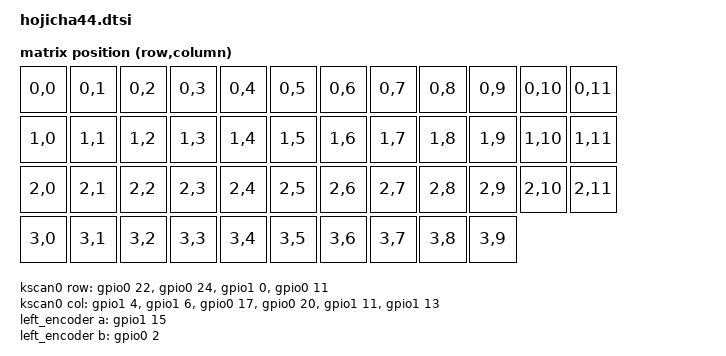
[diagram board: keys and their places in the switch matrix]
/*
 * Hojicha44 shared devicetree — compiled by CI against zmkfirmware/zmk
 * v0.3.0 (board nice_nano_v2, see .github/workflows/build.yml).
 *
 * Covers both halves: 4x6 matrix (R3C4-C5 unpopulated), EC11 on A0/A1 with
 * push on D16, NFC pins as GPIO. Per-half differences (UART only — see
 * hojicha44_{left,right}.overlay) live in the half overlays. The board
 * file provides vbatt/VDDH sensing (chosen zmk,battery is set there, so
 * this file must not redefine it) and defaults uart0 off.
 *
 * Verify with: west build -b nice_nano_v2 -- -DSHIELD=hojicha44_left
 * (needs a zmk-config wrapper providing the shield + board files).
 */

#include <dt-bindings/zmk/matrix_transform.h>
#include <zephyr/dt-bindings/input/input-event-codes.h>

/ {
    chosen {
        zmk,kscan = &kscan0;
        zmk,matrix-transform = &default_transform;
        /* zmk,battery = &vbatt comes from the nice_nano_v2 board file. */
    };

    kscan0: kscan0 {
        compatible = "zmk,kscan-gpio-matrix";
        diode-direction = "col2row";
        wakeup-source;
        /* row-gpios / col-gpios are half-specific only in net NAME;
         * the Arduino pins are identical, so they live here. */
        row-gpios
            = <&gpio0 22 (GPIO_ACTIVE_HIGH | GPIO_PULL_DOWN)>    /* R0 = D4  */
            , <&gpio0 24 (GPIO_ACTIVE_HIGH | GPIO_PULL_DOWN)>    /* R1 = D5  */
            , <&gpio1  0 (GPIO_ACTIVE_HIGH | GPIO_PULL_DOWN)>    /* R2 = D6  */
            , <&gpio0 11 (GPIO_ACTIVE_HIGH | GPIO_PULL_DOWN)>;   /* R3 = D7  */
        col-gpios
            = <&gpio1  4 GPIO_ACTIVE_HIGH>      /* C0 = D8  */
            , <&gpio1  6 GPIO_ACTIVE_HIGH>      /* C1 = D9  */
            , <&gpio0 17 GPIO_ACTIVE_HIGH>      /* C2 = D2  */
            , <&gpio0 20 GPIO_ACTIVE_HIGH>      /* C3 = D3  */
            , <&gpio1 11 GPIO_ACTIVE_HIGH>      /* C4 = D14 */
            , <&gpio1 13 GPIO_ACTIVE_HIGH>;     /* C5 = D15 */
    };

    default_transform: transform {
        compatible = "zmk,matrix-transform";
        columns = <12>;
        rows = <4>;
        map = <
            RC(0,0) RC(0,1) RC(0,2) RC(0,3) RC(0,4) RC(0,5) RC(0,6) RC(0,7) RC(0,8) RC(0,9) RC(0,10) RC(0,11)
            RC(1,0) RC(1,1) RC(1,2) RC(1,3) RC(1,4) RC(1,5) RC(1,6) RC(1,7) RC(1,8) RC(1,9) RC(1,10) RC(1,11)
            RC(2,0) RC(2,1) RC(2,2) RC(2,3) RC(2,4) RC(2,5) RC(2,6) RC(2,7) RC(2,8) RC(2,9) RC(2,10) RC(2,11)
            RC(3,0) RC(3,1) RC(3,2) RC(3,3) RC(3,4) RC(3,5) RC(3,6) RC(3,7) RC(3,8) RC(3,9)
        >;
    };

    enc_sw: buttons_enc_sw {
        compatible = "gpio-keys";
        /* EC11 push is a dedicated GPIO (D16 = P0.10), not matrixed.
         * Shape per the Zephyr gpio-keys binding: one child node per
         * button carrying `gpios` (+ optional `label`/`zephyr,code`) —
         * a parent-level `sw-gpios` property does not exist.
         * S1 closes to GND, so ACTIVE_LOW with pull-up.
         * ZMK-docs discrepancy note: ZMK keymaps consume *kscan* events,
         * not Zephyr input events (zmk.dev/docs/features/encoders says a
         * push is "typically" part of the keyboard matrix). This node only
         * corrects the pin description; the keymap path is the direct
         * kscan below, consumed by the sideband in hojicha44.keymap.
         * Binding source: docs.zephyrproject.org/latest/build/dts/api/
         * bindings/input/gpio-keys.html */
        enc_sw_btn: button_enc_sw {
            label = "ENC push";
            gpios = <&gpio0 10 (GPIO_ACTIVE_LOW | GPIO_PULL_UP)>;
            zephyr,code = <INPUT_KEY_MUTE>;
        };
    };

    enc_push_kscan: kscan_enc_push {
        /* ZMK-supported keymap path for the dedicated-GPIO push: direct
         * kscan over the gpio-key above (`input-keys` takes gpio-key
         * phandles; the single key emits row 0 / column 0 events).
         * Consumed by the sideband in hojicha44.keymap; the chosen kscan
         * stays kscan0, so the 46-cell matrix path is untouched.
         * Binding source: zmk.dev/docs/config/kscan (Direct GPIO driver)
         * + app/module/drivers/kscan/kscan_gpio_direct.c in zmkfirmware/zmk
         * (`input-keys`, events at row 0 / column index). */
        compatible = "zmk,kscan-gpio-direct";
        wakeup-source;
        input-keys = <&enc_sw_btn>;
    };

    left_encoder: encoder_left {
        /* Shared node: defined ONCE here, enabled per-half by each overlay's
           &left_encoder { status = "okay"; } and consumed by sensors below.
           The name is NOT a left-half leak — do NOT rename per half. */
        compatible = "alps,ec11";
        a-gpios = <&gpio1 15 (GPIO_ACTIVE_HIGH | GPIO_PULL_UP)>;  /* A0 */
        b-gpios = <&gpio0  2 (GPIO_ACTIVE_HIGH | GPIO_PULL_UP)>;  /* A1 */
        steps = <15>;             /* EC11E15244G1: 30 detents but 15 PULSES/rev;
                                   ZMK `steps` counts pulses per revolution —
                                   confirm CW/CCW event counts over one full
                                   revolution on first article */
        status = "disabled";      /* enabled per half-overlay */
    };

    sensors: sensors {
        compatible = "zmk,keymap-sensors";
        sensors = <&left_encoder>;
        triggers-per-rotation = <30>;
    };
};

/* P0.09 (D10) and P0.10 (D16/ENC push) are NFC pins: take them as GPIO.
 * UICR is sticky — full chip erase required to apply or clear. */
&uicr {
    nfct-pins-as-gpios;
};
